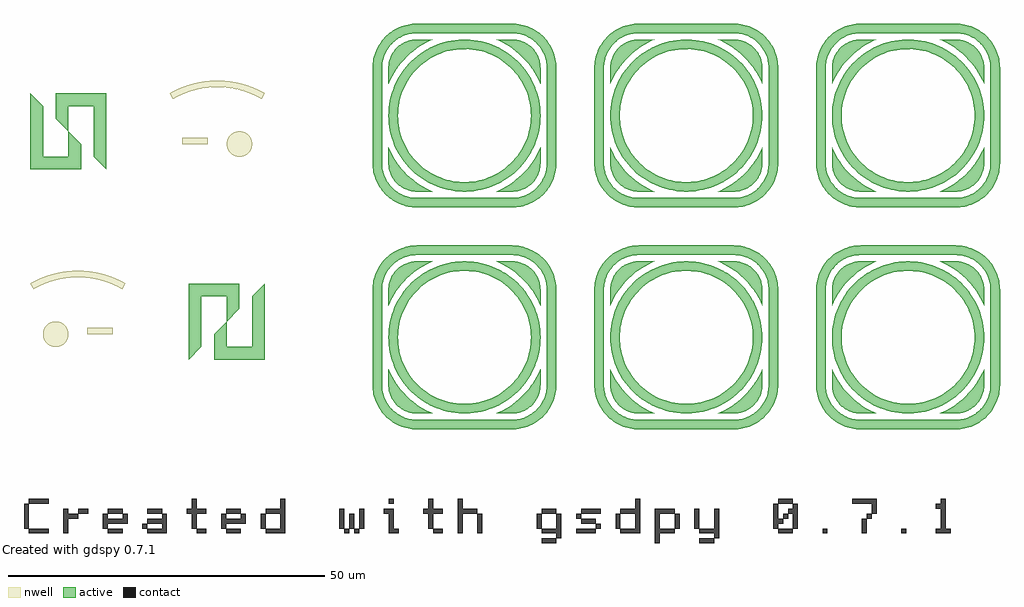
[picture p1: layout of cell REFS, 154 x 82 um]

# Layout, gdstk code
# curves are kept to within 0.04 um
from math import pi, radians
import gdstk
lib = gdstk.Library(unit=1e-6, precision=1e-09)
def R(c, l, rs):  # rectangles x0, y0, x1, y1
    for r in rs: c.add(gdstk.rectangle(r[:2], r[2:], *l))
def P(c, l, *ps):  # polygons
    for p in ps: c.add(gdstk.Polygon(p, *l))
active = (1, 0)
nwell = (2, 0)
contact = (6, 0)

polygons = lib.new_cell('POLYGONS')
P(polygons, active, [(0,0),(2,2),(2,6),(-6,6),(-6,-6),(-4,-4),(-4,4),(0,4)],
  [(0,0),(-2,-2),(-2,-6),(6,-6),(6,6),(4,4),(4,-4),(0,-4)])
R(polygons, nwell, [(18,1,22,2)])
P(polygons, nwell, [(27,2),(29,2),(28.953,2.433),(28.813,2.845),(28.575,3.233),(28.271,3.545)],
  [(27,2),(28.247,3.564),(28.15,3.637),(27.778,3.843),(27.39,3.962),(26.957,4),(26.555,3.95)],
  [(27,2),(26.555,3.95),(26.089,3.781),(25.656,3.482),(25.198,2.868)],
  [(27,2),(25.198,2.868),(25.172,2.813),(25.048,2.438),(25,1.965),(25.048,1.562),(25.198,1.132)],
  [(27,2),(25.198,1.132),(25.656,0.518),(26.089,0.219),(26.555,0.05)],
  [(27,2),(26.555,0.05),(26.957,0),(27.39,0.038),(27.778,0.157),(28.15,0.363),(28.247,0.436)],
  [(27,2),(28.271,0.455),(28.575,0.767),(28.813,1.155),(28.953,1.567),(29,2)],
  [(16,-5.99),(16.866,-6.453),(17.308,-5.556),(16.5,-5.124)],
  [(16.866,-6.453),(17.76,-6.858),(18.142,-5.934),(17.308,-5.556)],
  [(17.76,-6.858),(18.678,-7.204),(19,-6.257),(18.142,-5.934)],
  [(18.678,-7.204),(19.618,-7.489),(19.877,-6.523),(19,-6.257)],
  [(19.618,-7.489),(20.574,-7.712),(20.769,-6.731),(19.877,-6.523)],
  [(20.574,-7.712),(21.542,-7.872),(21.673,-6.88),(20.769,-6.731)],
  [(21.542,-7.872),(22.519,-7.968),(22.584,-6.97),(21.673,-6.88)],
  [(22.519,-7.968),(23.5,-8),(23.5,-7),(22.584,-6.97)],
  [(23.5,-8),(24.481,-7.968),(24.416,-6.97),(23.5,-7)],
  [(24.481,-7.968),(25.458,-7.872),(25.327,-6.88),(24.416,-6.97)],
  [(25.458,-7.872),(26.426,-7.712),(26.231,-6.731),(25.327,-6.88)],
  [(26.426,-7.712),(27.382,-7.489),(27.123,-6.523),(26.231,-6.731)],
  [(27.382,-7.489),(28.322,-7.204),(28,-6.257),(27.123,-6.523)],
  [(28.322,-7.204),(29.24,-6.858),(28.858,-5.934),(28,-6.257)],
  [(29.24,-6.858),(30.134,-6.453),(29.692,-5.556),(28.858,-5.934)],
  [(30.134,-6.453),(31,-5.99),(30.5,-5.124),(29.692,-5.556)])

boolean = lib.new_cell('BOOLEAN')
P(boolean, active, [(48.425,13.719),(47.186,11.443),(46.228,10),(44.917,8.288),(43.154,6.387),(41.211,4.672),(39.106,3.159),(36.861,1.863),(34.98,1),(40.456,1.012),(41.812,1.184),(43.126,1.56),(44.368,2.131),(45.509,2.883),(46.201,3.477),(47.117,4.491),(47.869,5.632),(48.44,6.874),(48.816,8.188),(48.988,9.544),(49,15.007)],
  [(13.139,1.863),(10.894,3.159),(8.789,4.672),(6.846,6.387),(5.941,7.316),(4.275,9.301),(2.814,11.443),(1.575,13.719),(1,15.007),(1.012,9.544),(1.184,8.188),(1.56,6.874),(2.131,5.632),(2.883,4.491),(3.477,3.799),(4.491,2.883),(5.632,2.131),(6.874,1.56),(8.188,1.184),(9.544,1.012),(15.02,1)],
  [(1,34.993),(2.166,37.435),(3.518,39.646),(5.083,41.712),(6.846,43.613),(8.789,45.328),(10.894,46.841),(13.139,48.137),(15.02,49),(9.544,48.988),(8.188,48.816),(6.874,48.44),(5.632,47.869),(4.491,47.117),(3.799,46.523),(2.883,45.509),(2.362,44.761),(1.729,43.549),(1.287,42.256),(1.104,41.363),(1.012,40.456)],
  [(34.98,49),(36.861,48.137),(39.106,46.841),(41.211,45.328),(43.154,43.613),(44.917,41.712),(46.482,39.646),(47.834,37.435),(49,34.993),(48.988,40.456),(48.896,41.363),(48.713,42.256),(48.271,43.549),(47.638,44.761),(47.117,45.509),(46.201,46.523),(45.509,47.117),(44.368,47.869),(43.126,48.44),(41.812,48.816),(40.456,48.988)],
  [(-4,10),(-1,10),(-1,12.168),(-1,25),(-4,25)],
  [(51,25),(51,10),(50.944,8.887),(50.649,7.243),(50.109,5.662),(49.618,4.662),(48.699,3.267),(47.973,2.421),(46.733,1.301),(45.819,0.665),(44.844,0.124),(43.82,-0.315),(42.214,-0.775),(41.113,-0.944),(40,-1),(10,-1),(8.887,-0.944),(7.786,-0.775),(6.707,-0.496),(5.662,-0.109),(4.181,0.665),(3.267,1.301),(2.421,2.027),(1.301,3.267),(0.382,4.662),(-0.109,5.662),(-0.496,6.707),(-0.873,8.334),(-1,10),(-4,10),(-3.839,7.88),(-3.553,6.491),(-3.129,5.138),(-2.241,3.206),(-1.491,2.002),(-0.147,0.354),(0.881,-0.623),(2.002,-1.491),(3.834,-2.569),(5.809,-3.358),(7.88,-3.839),(10,-4),(40,-4),(42.12,-3.839),(43.509,-3.553),(44.862,-3.129),(46.794,-2.241),(47.998,-1.491),(49.646,-0.147),(50.623,0.881),(51.491,2.002),(52.569,3.834),(53.129,5.138),(53.713,7.182),(53.928,8.584),(54,10),(54,25)],
  [(-1,25),(-1,40),(-0.944,41.113),(-0.649,42.757),(-0.109,44.338),(0.382,45.338),(1.301,46.733),(2.027,47.579),(3.267,48.699),(4.181,49.335),(5.156,49.876),(6.18,50.315),(7.786,50.775),(8.887,50.944),(10,51),(40,51),(41.113,50.944),(42.757,50.649),(44.338,50.109),(45.338,49.618),(46.284,49.028),(47.165,48.346),(47.973,47.579),(48.699,46.733),(49.335,45.819),(50.109,44.338),(50.496,43.293),(50.775,42.214),(50.944,41.113),(51,40),(51,25),(54,25),(53.982,40.709),(53.713,42.818),(53.129,44.862),(52.241,46.794),(51.491,47.998),(50.147,49.646),(49.119,50.623),(47.998,51.491),(46.166,52.569),(44.191,53.358),(42.12,53.839),(40,54),(10,54),(7.88,53.839),(6.491,53.553),(5.138,53.129),(3.206,52.241),(2.002,51.491),(0.354,50.147),(-0.623,49.119),(-1.491,47.998),(-2.569,46.166),(-3.129,44.862),(-3.713,42.818),(-3.928,41.416),(-4,40),(-4,25)],
  [(1,25),(4,25),(4.104,27.091),(4.416,29.161),(4.933,31.19),(5.649,33.157),(6.557,35.043),(7.649,36.83),(8.913,38.499),(10.337,40.033),(11.907,41.418),(13.607,42.641),(15.42,43.687),(17.328,44.548),(19.312,45.215),(21.353,45.681),(23.431,45.941),(25,45.993),(25,48.993),(23.206,48.933),(20.832,48.635),(18.5,48.103),(16.232,47.341),(14.051,46.357),(11.979,45.161),(10.036,43.764),(8.242,42.181),(6.615,40.427),(5.17,38.52),(3.923,36.478),(2.885,34.322),(2.066,32.074),(1.476,29.756),(1.119,27.39)],
  [(24.476,4.007),(22.389,4.163),(21.353,4.319),(19.312,4.785),(17.328,5.452),(16.363,5.858),(14.5,6.813),(12.741,7.949),(11.105,9.255),(9.606,10.716),(8.26,12.32),(7.649,13.17),(6.557,14.957),(5.649,16.843),(4.933,18.81),(4.416,20.839),(4.104,22.909),(4,25),(1,25),(1.119,22.61),(1.268,21.423),(1.742,19.078),(2.447,16.792),(3.377,14.587),(4.521,12.486),(5.869,10.509),(7.407,8.676),(9.12,7.005),(10.99,5.513),(13,4.215),(14.051,3.643),(16.232,2.659),(17.356,2.25),(18.5,1.897),(20.832,1.365),(23.206,1.067),(25,1.007),(25,4.007)],
  [(25.524,45.993),(27.611,45.837),(29.673,45.473),(31.688,44.906),(33.637,44.142),(35.5,43.187),(37.259,42.051),(38.895,40.745),(40.394,39.284),(41.74,37.68),(42.919,35.95),(43.92,34.112),(44.734,32.182),(45.351,30.182),(45.584,29.161),(45.896,27.091),(46,25),(45.896,22.909),(45.584,20.839),(45.351,19.818),(44.734,17.818),(44.351,16.843),(43.443,14.957),(42.351,13.17),(41.087,11.501),(39.663,9.967),(38.895,9.255),(37.259,7.949),(35.5,6.813),(33.637,5.858),(31.688,5.094),(29.673,4.527),(27.611,4.163),(26.569,4.059),(25,4.007),(25,1.007),(26.794,1.067),(29.168,1.365),(31.5,1.897),(33.768,2.659),(35.949,3.643),(38.021,4.839),(39.964,6.236),(41.758,7.819),(43.385,9.573),(44.83,11.48),(46.077,13.522),(47.115,15.678),(47.934,17.926),(48.524,20.244),(48.881,22.61),(49,25),(48.881,27.39),(48.732,28.577),(48.258,30.922),(47.553,33.208),(46.623,35.413),(45.479,37.514),(44.131,39.491),(42.593,41.324),(40.88,42.995),(39.01,44.487),(37,45.785),(35.949,46.357),(33.768,47.341),(32.644,47.75),(31.5,48.103),(29.168,48.635),(26.794,48.933),(25,48.993),(25,45.993)])

refs = lib.new_cell('REFS')
R(refs, contact, [(43.556,-33.444,44.333,-32.667), (45.111,-33.444,45.889,-32.667), (119,-33.444,119.778,-32.667), (131.444,-33.444,132.222,-32.667), (11.667,-32.667,12.444,-31.889), (83.222,-32.667,84,-31.889), (80.111,-31.111,80.889,-30.333), (112.778,-31.111,113.556,-30.333), (126,-31.111,126.778,-30.333), (50.556,-28.778,51.333,-28)])
P(refs, contact, [(-7,-32.667),(-6.222,-32.667),(-6.222,-31.889),(-6.222,-31.111),(-6.222,-30.333),(-6.222,-29.556),(-6.222,-28.778),(-7,-28.778),(-7,-29.556),(-7,-30.333),(-7,-31.111),(-7,-31.889)],
  [(-6.222,-33.444),(-5.444,-33.444),(-4.667,-33.444),(-3.889,-33.444),(-3.111,-33.444),(-3.111,-32.667),(-3.889,-32.667),(-4.667,-32.667),(-5.444,-32.667),(-6.222,-32.667)],
  [(-6.222,-28.778),(-5.444,-28.778),(-4.667,-28.778),(-3.889,-28.778),(-3.111,-28.778),(-3.111,-28),(-3.889,-28),(-4.667,-28),(-5.444,-28),(-6.222,-28)],
  [(-0.778,-33.444),(0,-33.444),(0,-32.667),(0,-31.889),(0,-31.111),(0.778,-31.111),(1.556,-31.111),(1.556,-30.333),(0.778,-30.333),(0,-30.333),(0,-29.556),(-0.778,-29.556),(-0.778,-30.333),(-0.778,-31.111),(-0.778,-31.889),(-0.778,-32.667)],
  [(1.556,-30.333),(2.333,-30.333),(3.111,-30.333),(3.111,-29.556),(2.333,-29.556),(1.556,-29.556)],
  [(5.444,-32.667),(6.222,-32.667),(6.222,-31.889),(7,-31.889),(7.778,-31.889),(8.556,-31.889),(9.333,-31.889),(9.333,-31.111),(9.333,-30.333),(8.556,-30.333),(8.556,-31.111),(7.778,-31.111),(7,-31.111),(6.222,-31.111),(6.222,-30.333),(5.444,-30.333),(5.444,-31.111),(5.444,-31.889)],
  [(6.222,-33.444),(7,-33.444),(7.778,-33.444),(8.556,-33.444),(8.556,-32.667),(7.778,-32.667),(7,-32.667),(6.222,-32.667)],
  [(6.222,-30.333),(7,-30.333),(7.778,-30.333),(8.556,-30.333),(8.556,-29.556),(7.778,-29.556),(7,-29.556),(6.222,-29.556)],
  [(12.444,-33.444),(13.222,-33.444),(14,-33.444),(14.778,-33.444),(15.556,-33.444),(15.556,-32.667),(15.556,-31.889),(15.556,-31.111),(15.556,-30.333),(14.778,-30.333),(14.778,-31.111),(14,-31.111),(13.222,-31.111),(12.444,-31.111),(12.444,-31.889),(13.222,-31.889),(14,-31.889),(14.778,-31.889),(14.778,-32.667),(14,-32.667),(13.222,-32.667),(12.444,-32.667)],
  [(12.444,-30.333),(13.222,-30.333),(14,-30.333),(14.778,-30.333),(14.778,-29.556),(14,-29.556),(13.222,-29.556),(12.444,-29.556)],
  [(18.667,-30.333),(19.444,-30.333),(19.444,-31.111),(19.444,-31.889),(19.444,-32.667),(20.222,-32.667),(20.222,-31.889),(20.222,-31.111),(20.222,-30.333),(21,-30.333),(21.778,-30.333),(21.778,-29.556),(21,-29.556),(20.222,-29.556),(20.222,-28.778),(20.222,-28),(19.444,-28),(19.444,-28.778),(19.444,-29.556),(18.667,-29.556)],
  [(20.222,-33.444),(21,-33.444),(21.778,-33.444),(21.778,-32.667),(21,-32.667),(20.222,-32.667)],
  [(24.111,-32.667),(24.889,-32.667),(24.889,-31.889),(25.667,-31.889),(26.444,-31.889),(27.222,-31.889),(28,-31.889),(28,-31.111),(28,-30.333),(27.222,-30.333),(27.222,-31.111),(26.444,-31.111),(25.667,-31.111),(24.889,-31.111),(24.889,-30.333),(24.111,-30.333),(24.111,-31.111),(24.111,-31.889)],
  [(24.889,-33.444),(25.667,-33.444),(26.444,-33.444),(27.222,-33.444),(27.222,-32.667),(26.444,-32.667),(25.667,-32.667),(24.889,-32.667)],
  [(24.889,-30.333),(25.667,-30.333),(26.444,-30.333),(27.222,-30.333),(27.222,-29.556),(26.444,-29.556),(25.667,-29.556),(24.889,-29.556)],
  [(30.333,-32.667),(31.111,-32.667),(31.111,-31.889),(31.111,-31.111),(31.111,-30.333),(30.333,-30.333),(30.333,-31.111),(30.333,-31.889)],
  [(31.111,-33.444),(31.889,-33.444),(32.667,-33.444),(33.444,-33.444),(34.222,-33.444),(34.222,-32.667),(34.222,-31.889),(34.222,-31.111),(34.222,-30.333),(34.222,-29.556),(34.222,-28.778),(34.222,-28),(33.444,-28),(33.444,-28.778),(33.444,-29.556),(32.667,-29.556),(31.889,-29.556),(31.111,-29.556),(31.111,-30.333),(31.889,-30.333),(32.667,-30.333),(33.444,-30.333),(33.444,-31.111),(33.444,-31.889),(33.444,-32.667),(32.667,-32.667),(31.889,-32.667),(31.111,-32.667)],
  [(42.778,-32.667),(43.556,-32.667),(43.556,-31.889),(43.556,-31.111),(43.556,-30.333),(43.556,-29.556),(42.778,-29.556),(42.778,-30.333),(42.778,-31.111),(42.778,-31.889)],
  [(44.333,-32.667),(45.111,-32.667),(45.111,-31.889),(45.111,-31.111),(45.111,-30.333),(44.333,-30.333),(44.333,-31.111),(44.333,-31.889)],
  [(45.889,-32.667),(46.667,-32.667),(46.667,-31.889),(46.667,-31.111),(46.667,-30.333),(46.667,-29.556),(45.889,-29.556),(45.889,-30.333),(45.889,-31.111),(45.889,-31.889)],
  [(49.778,-30.333),(50.556,-30.333),(50.556,-31.111),(50.556,-31.889),(50.556,-32.667),(50.556,-33.444),(51.333,-33.444),(52.111,-33.444),(52.111,-32.667),(51.333,-32.667),(51.333,-31.889),(51.333,-31.111),(51.333,-30.333),(51.333,-29.556),(50.556,-29.556),(49.778,-29.556)],
  [(56,-30.333),(56.778,-30.333),(56.778,-31.111),(56.778,-31.889),(56.778,-32.667),(57.556,-32.667),(57.556,-31.889),(57.556,-31.111),(57.556,-30.333),(58.333,-30.333),(59.111,-30.333),(59.111,-29.556),(58.333,-29.556),(57.556,-29.556),(57.556,-28.778),(57.556,-28),(56.778,-28),(56.778,-28.778),(56.778,-29.556),(56,-29.556)],
  [(57.556,-33.444),(58.333,-33.444),(59.111,-33.444),(59.111,-32.667),(58.333,-32.667),(57.556,-32.667)],
  [(61.444,-33.444),(62.222,-33.444),(62.222,-32.667),(62.222,-31.889),(62.222,-31.111),(62.222,-30.333),(63,-30.333),(63.778,-30.333),(64.556,-30.333),(64.556,-29.556),(63.778,-29.556),(63,-29.556),(62.222,-29.556),(62.222,-28.778),(62.222,-28),(61.444,-28),(61.444,-28.778),(61.444,-29.556),(61.444,-30.333),(61.444,-31.111),(61.444,-31.889),(61.444,-32.667)],
  [(64.556,-33.444),(65.333,-33.444),(65.333,-32.667),(65.333,-31.889),(65.333,-31.111),(65.333,-30.333),(64.556,-30.333),(64.556,-31.111),(64.556,-31.889),(64.556,-32.667)],
  [(73.889,-32.667),(74.667,-32.667),(74.667,-31.889),(74.667,-31.111),(74.667,-30.333),(73.889,-30.333),(73.889,-31.111),(73.889,-31.889)],
  [(74.667,-35),(75.444,-35),(76.222,-35),(77,-35),(77,-34.222),(76.222,-34.222),(75.444,-34.222),(74.667,-34.222)],
  [(74.667,-33.444),(75.444,-33.444),(76.222,-33.444),(77,-33.444),(77,-34.222),(77.778,-34.222),(77.778,-33.444),(77.778,-32.667),(77.778,-31.889),(77.778,-31.111),(77.778,-30.333),(77,-30.333),(77,-31.111),(77,-31.889),(77,-32.667),(76.222,-32.667),(75.444,-32.667),(74.667,-32.667)],
  [(74.667,-30.333),(75.444,-30.333),(76.222,-30.333),(77,-30.333),(77,-29.556),(76.222,-29.556),(75.444,-29.556),(74.667,-29.556)],
  [(80.111,-33.444),(80.889,-33.444),(81.667,-33.444),(82.444,-33.444),(83.222,-33.444),(83.222,-32.667),(82.444,-32.667),(81.667,-32.667),(80.889,-32.667),(80.111,-32.667)],
  [(80.889,-31.889),(81.667,-31.889),(82.444,-31.889),(83.222,-31.889),(83.222,-31.111),(82.444,-31.111),(81.667,-31.111),(80.889,-31.111)],
  [(80.889,-30.333),(81.667,-30.333),(82.444,-30.333),(83.222,-30.333),(84,-30.333),(84,-29.556),(83.222,-29.556),(82.444,-29.556),(81.667,-29.556),(80.889,-29.556)],
  [(86.333,-32.667),(87.111,-32.667),(87.111,-31.889),(87.111,-31.111),(87.111,-30.333),(86.333,-30.333),(86.333,-31.111),(86.333,-31.889)],
  [(87.111,-33.444),(87.889,-33.444),(88.667,-33.444),(89.444,-33.444),(90.222,-33.444),(90.222,-32.667),(90.222,-31.889),(90.222,-31.111),(90.222,-30.333),(90.222,-29.556),(90.222,-28.778),(90.222,-28),(89.444,-28),(89.444,-28.778),(89.444,-29.556),(88.667,-29.556),(87.889,-29.556),(87.111,-29.556),(87.111,-30.333),(87.889,-30.333),(88.667,-30.333),(89.444,-30.333),(89.444,-31.111),(89.444,-31.889),(89.444,-32.667),(88.667,-32.667),(87.889,-32.667),(87.111,-32.667)],
  [(92.556,-35),(93.333,-35),(93.333,-34.222),(93.333,-33.444),(94.111,-33.444),(94.889,-33.444),(95.667,-33.444),(95.667,-32.667),(94.889,-32.667),(94.111,-32.667),(93.333,-32.667),(93.333,-31.889),(93.333,-31.111),(93.333,-30.333),(94.111,-30.333),(94.889,-30.333),(95.667,-30.333),(95.667,-29.556),(94.889,-29.556),(94.111,-29.556),(93.333,-29.556),(92.556,-29.556),(92.556,-30.333),(92.556,-31.111),(92.556,-31.889),(92.556,-32.667),(92.556,-33.444),(92.556,-34.222)],
  [(95.667,-32.667),(96.444,-32.667),(96.444,-31.889),(96.444,-31.111),(96.444,-30.333),(95.667,-30.333),(95.667,-31.111),(95.667,-31.889)],
  [(98.778,-32.667),(99.556,-32.667),(99.556,-31.889),(99.556,-31.111),(99.556,-30.333),(99.556,-29.556),(98.778,-29.556),(98.778,-30.333),(98.778,-31.111),(98.778,-31.889)],
  [(99.556,-35),(100.333,-35),(101.111,-35),(101.889,-35),(101.889,-34.222),(101.111,-34.222),(100.333,-34.222),(99.556,-34.222)],
  [(99.556,-33.444),(100.333,-33.444),(101.111,-33.444),(101.889,-33.444),(101.889,-34.222),(102.667,-34.222),(102.667,-33.444),(102.667,-32.667),(102.667,-31.889),(102.667,-31.111),(102.667,-30.333),(102.667,-29.556),(101.889,-29.556),(101.889,-30.333),(101.889,-31.111),(101.889,-31.889),(101.889,-32.667),(101.111,-32.667),(100.333,-32.667),(99.556,-32.667)],
  [(111.222,-32.667),(112,-32.667),(112,-31.889),(112.778,-31.889),(112.778,-31.111),(112,-31.111),(112,-30.333),(112,-29.556),(112,-28.778),(111.222,-28.778),(111.222,-29.556),(111.222,-30.333),(111.222,-31.111),(111.222,-31.889)],
  [(112,-33.444),(112.778,-33.444),(113.556,-33.444),(114.333,-33.444),(114.333,-32.667),(113.556,-32.667),(112.778,-32.667),(112,-32.667)],
  [(112,-28.778),(112.778,-28.778),(113.556,-28.778),(114.333,-28.778),(114.333,-28),(113.556,-28),(112.778,-28),(112,-28)],
  [(113.556,-30.333),(114.333,-30.333),(114.333,-31.111),(114.333,-31.889),(114.333,-32.667),(115.111,-32.667),(115.111,-31.889),(115.111,-31.111),(115.111,-30.333),(115.111,-29.556),(115.111,-28.778),(114.333,-28.778),(114.333,-29.556),(113.556,-29.556)],
  [(123.667,-28.778),(124.444,-28.778),(125.222,-28.778),(126,-28.778),(126.778,-28.778),(126.778,-29.556),(126.778,-30.333),(127.556,-30.333),(127.556,-29.556),(127.556,-28.778),(127.556,-28),(126.778,-28),(126,-28),(125.222,-28),(124.444,-28),(123.667,-28)],
  [(125.222,-33.444),(126,-33.444),(126,-32.667),(126,-31.889),(126,-31.111),(125.222,-31.111),(125.222,-31.889),(125.222,-32.667)],
  [(136.889,-33.444),(137.667,-33.444),(138.444,-33.444),(139.222,-33.444),(139.222,-32.667),(138.444,-32.667),(138.444,-31.889),(138.444,-31.111),(138.444,-30.333),(138.444,-29.556),(138.444,-28.778),(138.444,-28),(137.667,-28),(137.667,-28.778),(136.889,-28.778),(136.889,-29.556),(137.667,-29.556),(137.667,-30.333),(137.667,-31.111),(137.667,-31.889),(137.667,-32.667),(136.889,-32.667)])
refs.add(gdstk.Reference(polygons, (0,30), x_reflection=True))
refs.add(gdstk.Reference(polygons, (25,0), rotation=pi))
r = gdstk.Reference(boolean, (50,-15), magnification=0.5); r.repetition = gdstk.Repetition(3, 2, v1=(35,0), v2=(0,35)); refs.add(r)
refs.add(gdstk.Label('Created with gdspy 0.7.1', (-7,-36), layer=6, texttype=0))

lib.write_gds('REFS.gds')
